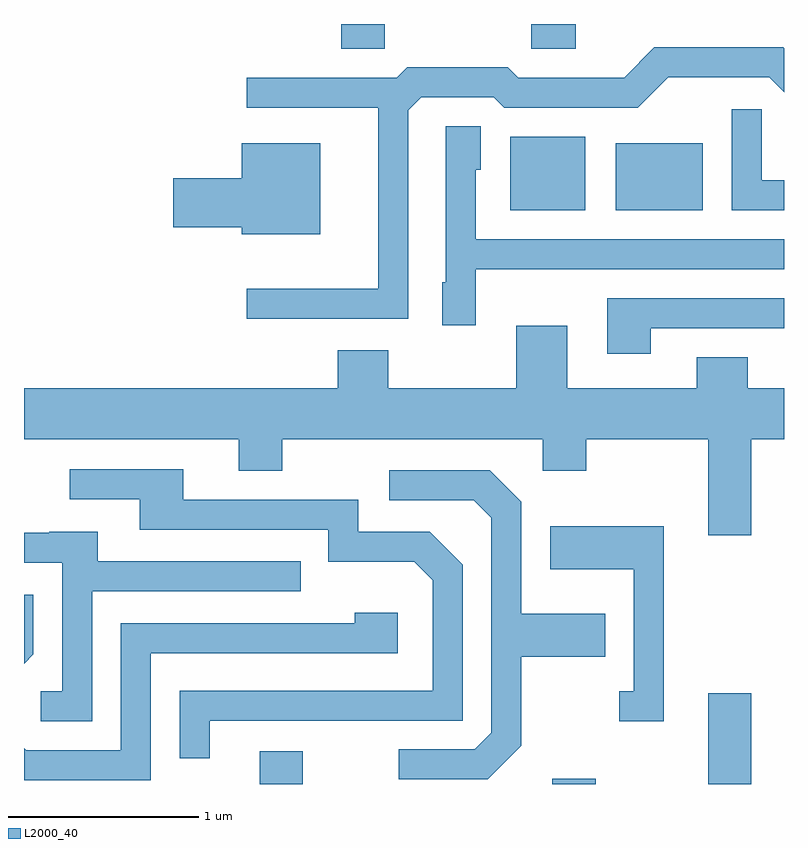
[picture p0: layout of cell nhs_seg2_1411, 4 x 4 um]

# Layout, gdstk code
import gdstk
lib = gdstk.Library(unit=1e-6, precision=1e-09)
def R(c, l, rs):  # rectangles x0, y0, x1, y1
    for r in rs: c.add(gdstk.rectangle(r[:2], r[2:], *l))
def P(c, l, *ps):  # polygons
    for p in ps: c.add(gdstk.Polygon(p, *l))
L2000_40 = (2000, 40)

nhs_seg2_1411 = lib.new_cell('nhs_seg2_1411')
R(nhs_seg2_1411, L2000_40, [(226.851,1079.802,227.079,1079.974), (228.391,1079.802,228.619,1079.829), (229.211,1079.802,229.439,1080.279), (228.171,1082.821,228.564,1083.209), (228.726,1082.821,229.184,1083.174), (227.281,1083.671,227.509,1083.802), (228.281,1083.671,228.514,1083.802)])
P(nhs_seg2_1411, L2000_40, [(227.634,1083.349),(227.702,1083.416),(228.084,1083.416),(228.139,1083.361),(228.842,1083.361),(229.002,1083.521),(229.534,1083.521),(229.611,1083.444),(229.611,1083.675),(229.607,1083.679),(228.929,1083.679),(228.769,1083.519),(228.212,1083.519),(228.157,1083.574),(227.629,1083.574),(227.574,1083.519),(226.783,1083.519),(226.783,1083.361),(227.476,1083.361),(227.476,1082.409),(226.783,1082.409),(226.783,1082.251),(227.634,1082.251)],
  [(229.611,1082.979),(229.494,1082.979),(229.494,1083.353),(229.336,1083.353),(229.336,1082.821),(229.611,1082.821)],
  [(227.989,1082.511),(229.611,1082.511),(229.611,1082.669),(227.989,1082.669),(227.989,1083.036),(228.014,1083.036),(228.014,1083.264),(227.831,1083.264),(227.831,1082.444),(227.811,1082.444),(227.811,1082.216),(227.989,1082.216)],
  [(227.169,1083.174),(226.756,1083.174),(226.756,1082.989),(226.396,1082.989),(226.396,1082.731),(226.756,1082.731),(226.756,1082.696),(227.169,1082.696)],
  [(228.909,1082.201),(229.611,1082.201),(229.611,1082.359),(228.681,1082.359),(228.681,1082.066),(228.909,1082.066)],
  [(229.439,1081.616),(229.611,1081.616),(229.611,1081.884),(229.419,1081.884),(229.419,1082.049),(229.151,1082.049),(229.151,1081.884),(228.469,1081.884),(228.469,1082.214),(228.201,1082.214),(228.201,1081.884),(227.529,1081.884),(227.529,1082.084),(227.261,1082.084),(227.261,1081.884),(225.611,1081.884),(225.611,1081.616),(226.741,1081.616),(226.741,1081.451),(226.969,1081.451),(226.969,1081.616),(228.341,1081.616),(228.341,1081.451),(228.569,1081.451),(228.569,1081.616),(229.211,1081.616),(229.211,1081.111),(229.439,1081.111)],
  [(226.589,1080.136),(227.919,1080.136),(227.919,1080.957),(227.747,1081.129),(227.369,1081.129),(227.369,1081.299),(226.449,1081.299),(226.449,1081.459),(225.853,1081.459),(225.853,1081.301),(226.221,1081.301),(226.221,1081.141),(227.211,1081.141),(227.211,1080.971),(227.664,1080.971),(227.761,1080.874),(227.761,1080.294),(226.431,1080.294),(226.431,1079.938),(226.589,1079.938)],
  [(228.229,1080.004),(228.229,1080.471),(228.669,1080.471),(228.669,1080.699),(228.229,1080.699),(228.229,1081.287),(228.062,1081.454),(227.533,1081.454),(227.533,1081.296),(227.979,1081.296),(228.071,1081.204),(228.071,1080.072),(227.984,1079.984),(227.583,1079.984),(227.583,1079.826),(228.052,1079.826)],
  [(228.979,1081.159),(228.381,1081.159),(228.381,1080.931),(228.821,1080.931),(228.821,1080.289),(228.743,1080.289),(228.743,1080.131),(228.979,1080.131)],
  [(225.969,1080.816),(227.068,1080.816),(227.068,1080.974),(225.999,1080.974),(225.999,1081.129),(225.745,1081.129),(225.745,1081.124),(225.611,1081.124),(225.611,1080.966),(225.811,1080.966),(225.811,1080.289),(225.698,1080.289),(225.698,1080.131),(225.969,1080.131)],
  [(225.659,1080.484),(225.659,1080.798),(225.611,1080.798),(225.611,1080.436)],
  [(226.279,1080.491),(227.579,1080.491),(227.579,1080.704),(227.351,1080.704),(227.351,1080.649),(226.121,1080.649),(226.121,1079.979),(225.622,1079.979),(225.611,1079.99),(225.611,1079.821),(226.279,1079.821)])

lib.write_gds('nhs_seg2_1411.gds')
